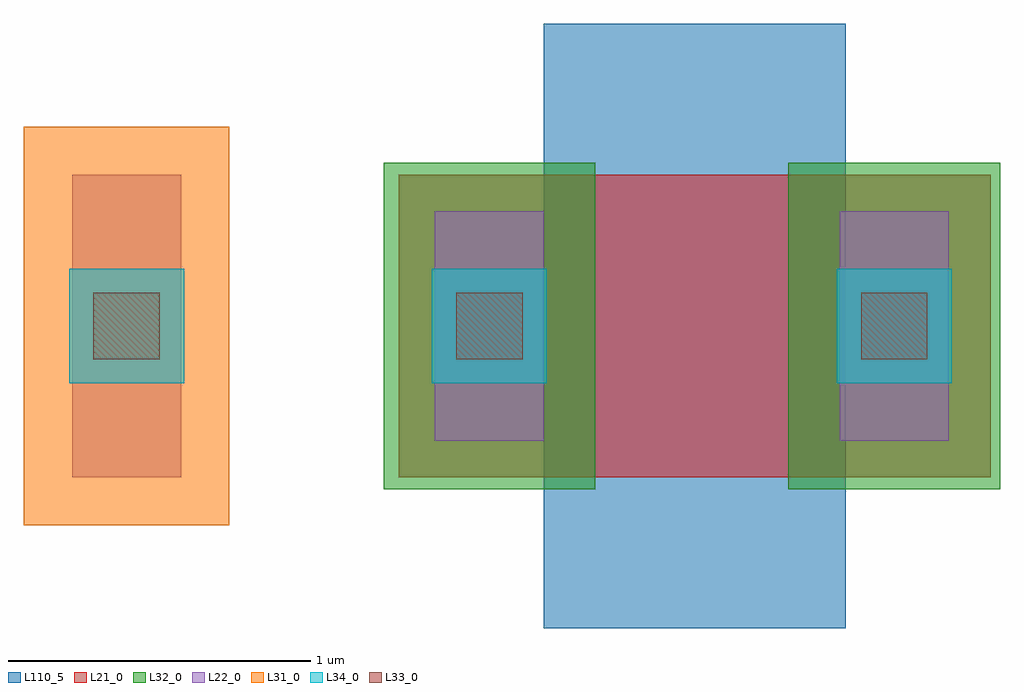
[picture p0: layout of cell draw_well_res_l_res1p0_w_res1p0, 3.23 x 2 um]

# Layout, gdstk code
import gdstk
lib = gdstk.Library(unit=1e-6, precision=1e-09)
def R(c, l, rs):  # rectangles x0, y0, x1, y1
    for r in rs: c.add(gdstk.rectangle(r[:2], r[2:], *l))
L21_0 = (21, 0)
L22_0 = (22, 0)
L31_0 = (31, 0)
L32_0 = (32, 0)
L33_0 = (33, 0)
L34_0 = (34, 0)
L110_5 = (110, 5)

draw_well_res_l_res1p0_w = lib.new_cell('draw_well_res_l_res1p0_w_res1p0')
R(draw_well_res_l_res1p0_w, L21_0, [(-0.48,0.5,1.48,1.5)])
R(draw_well_res_l_res1p0_w, L22_0, [(-1.56,0.5,-1.2,1.5), (-0.36,0.62,0,1.38), (0.98,0.62,1.34,1.38)])
R(draw_well_res_l_res1p0_w, L31_0, [(-1.72,0.34,-1.04,1.66)])
R(draw_well_res_l_res1p0_w, L32_0, [(-0.53,0.46,0.17,1.54), (0.81,0.46,1.51,1.54)])
R(draw_well_res_l_res1p0_w, L33_0, [(-1.49,0.89,-1.27,1.11), (-0.29,0.89,-0.07,1.11), (1.05,0.89,1.27,1.11)])
R(draw_well_res_l_res1p0_w, L34_0, [(-1.57,0.81,-1.19,1.19), (-0.37,0.81,0.01,1.19), (0.97,0.81,1.35,1.19)])
R(draw_well_res_l_res1p0_w, L110_5, [(0,0,1,2)])

lib.write_gds('draw_well_res_l_res1p0_w_res1p0.gds')
